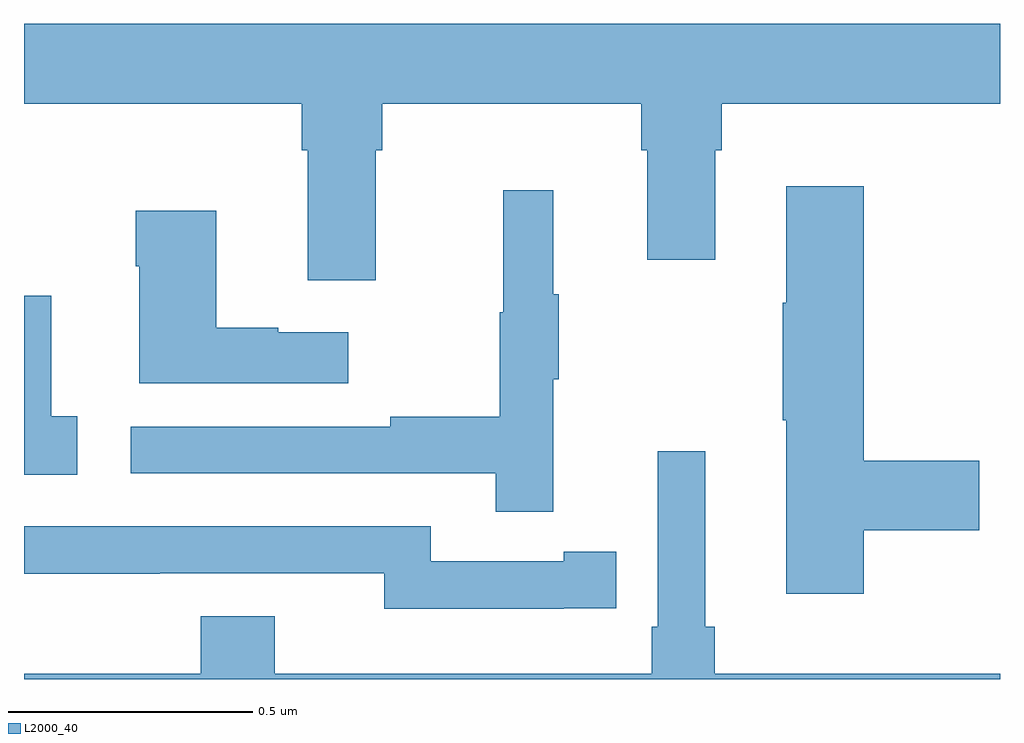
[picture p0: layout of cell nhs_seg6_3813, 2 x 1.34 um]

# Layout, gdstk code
import gdstk
lib = gdstk.Library(unit=1e-6, precision=1e-09)
def P(c, l, *ps):  # polygons
    for p in ps: c.add(gdstk.Polygon(p, *l))
L2000_40 = (2000, 40)

nhs_seg6_3813 = lib.new_cell('nhs_seg6_3813')
P(nhs_seg6_3813, L2000_40, [(162,936.68),(162.569,936.68),(162.569,936.584),(162.581,936.584),(162.581,936.318),(162.721,936.318),(162.721,936.584),(162.734,936.584),(162.734,936.68),(163.265,936.68),(163.265,936.584),(163.277,936.584),(163.277,936.36),(163.417,936.36),(163.417,936.584),(163.43,936.584),(163.43,936.68),(164,936.68),(164,936.844),(162,936.844)],
  [(163.721,935.806),(163.957,935.806),(163.957,935.948),(163.721,935.948),(163.721,936.511),(163.562,936.511),(163.562,936.272),(163.555,936.272),(163.555,936.031),(163.562,936.031),(163.562,935.676),(163.721,935.676)],
  [(163.085,936.115),(163.096,936.115),(163.096,936.289),(163.085,936.289),(163.085,936.502),(162.982,936.502),(162.982,936.252),(162.975,936.252),(162.975,936.038),(162.751,936.038),(162.751,936.018),(162.219,936.018),(162.219,935.922),(162.967,935.922),(162.967,935.844),(163.085,935.844)],
  [(162.664,936.211),(162.521,936.211),(162.521,936.221),(162.394,936.221),(162.394,936.46),(162.229,936.46),(162.229,936.347),(162.236,936.347),(162.236,936.107),(162.664,936.107)],
  [(162.109,936.039),(162.056,936.039),(162.056,936.286),(162,936.286),(162,935.919),(162.109,935.919)],
  [(164,935.512),(163.415,935.512),(163.415,935.608),(163.396,935.608),(163.396,935.968),(163.299,935.968),(163.299,935.608),(163.286,935.608),(163.286,935.512),(162.514,935.512),(162.514,935.629),(162.362,935.629),(162.362,935.512),(162,935.512),(162,935.5),(164,935.5)],
  [(163.106,935.646),(163.214,935.646),(163.214,935.762),(163.106,935.762),(163.106,935.742),(162.834,935.742),(162.834,935.814),(162,935.814),(162,935.717),(162.278,935.717),(162.278,935.718),(162.738,935.718),(162.738,935.645),(163.106,935.645)])

lib.write_gds('nhs_seg6_3813.gds')
